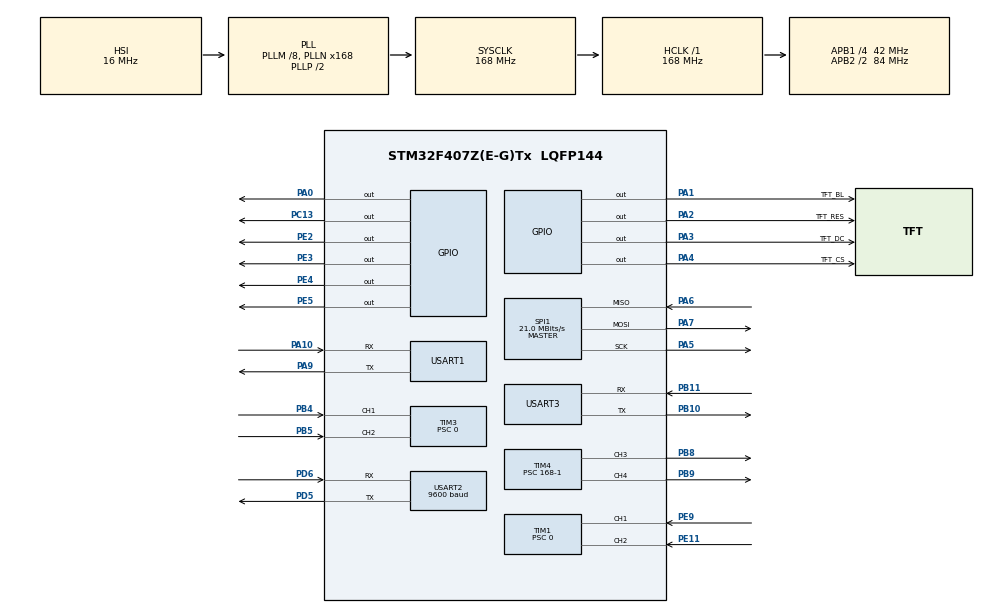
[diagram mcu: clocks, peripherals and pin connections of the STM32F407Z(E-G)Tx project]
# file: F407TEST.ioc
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Mcu.Family=STM32F4
Mcu.Name=STM32F407Z(E-G)Tx
Mcu.Package=LQFP144
NVIC.PriorityGroup=NVIC_PRIORITYGROUP_4
NVIC.TIM1_BRK_TIM9_IRQn=true\:0\:0\:false\:false\:true\:true\:true\:true
NVIC.TIM1_CC_IRQn=true\:0\:0\:false\:false\:true\:true\:true\:true
NVIC.TIM1_TRG_COM_TIM11_IRQn=true\:0\:0\:false\:false\:true\:true\:true\:true
NVIC.TIM1_UP_TIM10_IRQn=true\:0\:0\:false\:false\:true\:true\:true\:true
NVIC.TIM2_IRQn=true\:0\:0\:false\:false\:true\:true\:true\:true
NVIC.TIM3_IRQn=true\:0\:0\:false\:false\:true\:true\:true\:true
NVIC.TIM4_IRQn=true\:0\:0\:false\:false\:true\:true\:true\:true
NVIC.USART1_IRQn=true\:0\:0\:false\:false\:true\:true\:true\:true
NVIC.USART2_IRQn=true\:0\:0\:false\:false\:true\:true\:true\:true
NVIC.USART3_IRQn=true\:0\:0\:false\:false\:true\:true\:true\:true
PA0-WKUP.Signal=GPIO_Output
PA1.GPIO_Label=TFT_BL
PA1.Signal=GPIO_Output
PA10.Mode=Asynchronous
PA10.Signal=USART1_RX
PA13.Mode=Serial_Wire
PA13.Signal=SYS_JTMS-SWDIO
PA14.Mode=Serial_Wire
PA14.Signal=SYS_JTCK-SWCLK
PA2.GPIO_Label=TFT_RES
PA2.Signal=GPIO_Output
PA3.GPIO_Label=TFT_DC
PA3.Signal=GPIO_Output
PA4.GPIO_Label=TFT_CS
PA4.Signal=GPIO_Output
PA5.Mode=Full_Duplex_Master
PA5.Signal=SPI1_SCK
PA6.Mode=Full_Duplex_Master
PA6.Signal=SPI1_MISO
PA7.Mode=Full_Duplex_Master
PA7.Signal=SPI1_MOSI
PA9.Mode=Asynchronous
PA9.Signal=USART1_TX
PB10.Mode=Asynchronous
PB10.Signal=USART3_TX
PB11.Mode=Asynchronous
PB11.Signal=USART3_RX
PB4.Signal=S_TIM3_CH1
PB5.Signal=S_TIM3_CH2
PB8.Signal=S_TIM4_CH3
PB9.Signal=S_TIM4_CH4
PC13-ANTI_TAMP.PinState=GPIO_PIN_SET
PC13-ANTI_TAMP.Signal=GPIO_Output
PD5.Mode=Asynchronous
PD5.Signal=USART2_TX
PD6.Mode=Asynchronous
PD6.Signal=USART2_RX
PE11.Signal=S_TIM1_CH2
PE2.Signal=GPIO_Output
PE3.Signal=GPIO_Output
PE4.Signal=GPIO_Output
PE5.Signal=GPIO_Output
PE9.Signal=S_TIM1_CH1
PH0-OSC_IN.Mode=HSE-External-Oscillator
PH0-OSC_IN.Signal=RCC_OSC_IN
PH1-OSC_OUT.Mode=HSE-External-Oscillator
PH1-OSC_OUT.Signal=RCC_OSC_OUT
ProjectManager.HeapSize=0x200
ProjectManager.StackSize=0x400
ProjectManager.TargetToolchain=MDK-ARM V5.32
RCC.48MHZClocksFreq_Value=84000000
RCC.AHBFreq_Value=168000000
RCC.APB1CLKDivider=RCC_HCLK_DIV4
RCC.APB1Freq_Value=42000000
RCC.APB1TimFreq_Value=84000000
RCC.APB2CLKDivider=RCC_HCLK_DIV2
RCC.APB2Freq_Value=84000000
RCC.APB2TimFreq_Value=168000000
RCC.CortexFreq_Value=168000000
RCC.HCLKFreq_Value=168000000
RCC.HSE_VALUE=25000000
RCC.HSI_VALUE=16000000
RCC.LSE_VALUE=32768
RCC.PLLM=8
RCC.PLLN=168
RCC.SYSCLKFreq_VALUE=168000000
RCC.SYSCLKSource=RCC_SYSCLKSOURCE_PLLCLK
RCC.VCOOutputFreq_Value=336000000
SH.S_TIM1_CH1.0=TIM1_CH1,Encoder_Interface
SH.S_TIM1_CH2.0=TIM1_CH2,Encoder_Interface
SH.S_TIM3_CH1.0=TIM3_CH1,Encoder_Interface
SH.S_TIM3_CH2.0=TIM3_CH2,Encoder_Interface
SH.S_TIM4_CH3.0=TIM4_CH3,PWM Generation3 CH3
SH.S_TIM4_CH4.0=TIM4_CH4,PWM Generation4 CH4
SPI1.BaudRatePrescaler=SPI_BAUDRATEPRESCALER_4
SPI1.CalculateBaudRate=21.0 MBits/s
SPI1.Direction=SPI_DIRECTION_2LINES
SPI1.Mode=SPI_MODE_MASTER
SPI1.VirtualType=VM_MASTER
TIM1.EncoderMode=TIM_ENCODERMODE_TI12
TIM1.Period=60000
TIM1.Prescaler=0
TIM2.Period=10000-1
TIM2.Prescaler=84-1
TIM3.EncoderMode=TIM_ENCODERMODE_TI12
TIM3.Period=60000
TIM3.Prescaler=0
TIM4.Channel-PWM\ Generation3\ CH3=TIM_CHANNEL_3
TIM4.Channel-PWM\ Generation4\ CH4=TIM_CHANNEL_4
TIM4.Period=10000-1
TIM4.Prescaler=168-1
USART1.VirtualMode=VM_ASYNC
USART2.BaudRate=9600
USART2.VirtualMode=VM_ASYNC
USART3.VirtualMode=VM_ASYNC
VP_TIM2_VS_ClockSourceINT.Mode=Internal
VP_TIM4_VS_ClockSourceINT.Mode=Internal
board=custom

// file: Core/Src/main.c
/* USER CODE BEGIN Header */
/*
 * @Author: yyl
 * @Date: 2024-03-31 23:38:49
 * @LastEditors: yyl
 * @FilePath: \MDK-ARMc:\Users\vanilla\Desktop\F407TEST\Core\Src\main.c
 * @LastEditTime: 2024-04-28 14:52:20
 * @Descripttion:
 * code bless us
 */
/* USER CODE END Header */
#include "main.h"
#include "spi.h"
#include "tim.h"
#include "usart.h"
#include "gpio.h"

/* USER CODE BEGIN Includes */
#include "lcd.h"
#include "lcd_init.h"
#include "pic.h"
#include "head_files.h"

/* USER CODE END Includes */

/* USER CODE BEGIN PTD */
// 函数声明
void uart_rx(void);
void lcd_disp(void);
// 内部变量定义
char text[20];
// 外部变量引用

/* USER CODE END PTD */

void SystemClock_Config(void);

/* USER CODE BEGIN 0 */
//int fputc(int ch, FILE *f)

//{

//  HAL_UART_Transmit(&huart3, (uint8_t *)&ch, 1, 0xffff);

//  return ch;
//}
  uint8_t data[] = 0X60;
  float temperature;
  float Turn_angle;
  extern float GX,GY,GZ;

  int road_flag;
  int move_flag;
  int road;

  extern int right_counter;
  extern int left_counter;

  extern int stop;
  extern int target;
	int counter;
  int counter_flag;
  int turn_flag=0;
  int turn_flag1=0;
  extern int cv_x;
  extern int cv_y;

  int liucheng=0;
  int mubiao;
  int mubiao1;
  int dir;
  int dir1;
  extern int target1;

  int stop_flag=0;
  extern int ori;
  extern int theta;
  int dir_buff;
  int mubiao_flag;
  int mubiao1_flag;
  int mubiao_BF;
  int mubiao_x;
  int time;

extern int pid_speed;
extern float Kp_x_v;
extern float Ki_x_v;
extern float Kd_x_v;
extern float speed_pwm;
extern int speed_now;
/* USER CODE END 0 */

int main(void)
{

  /* MCU Configuration--------------------------------------------------------*/

  /* Reset of all peripherals, Initializes the Flash interface and the Systick. */
  HAL_Init();

  /* Configure the system clock */
  SystemClock_Config();

  /* Initialize all configured peripherals */
  MX_GPIO_Init();
  MX_SPI1_Init();
  MX_USART1_UART_Init();
  MX_USART2_UART_Init();
  MX_USART3_UART_Init();
  MX_TIM1_Init();
  MX_TIM3_Init();
  MX_TIM4_Init();
  MX_TIM2_Init();
  /* USER CODE BEGIN 2 */

 	HAL_TIM_Base_Start_IT(&htim1);
	HAL_TIM_Base_Start_IT(&htim2);

  HAL_TIM_Encoder_Start(&htim1, TIM_CHANNEL_ALL);
  HAL_TIM_Encoder_Start(&htim3, TIM_CHANNEL_ALL);
  __HAL_TIM_SET_COUNTER(&htim1, 15000);
  __HAL_TIM_SET_COUNTER(&htim3, 15000);

  HAL_TIM_PWM_Start(&htim4, TIM_CHANNEL_3);
  HAL_TIM_PWM_Start(&htim4, TIM_CHANNEL_4);

  LCD_Init();
  LCD_Fill(0, 0, LCD_W, LCD_H, BLACK);

  HAL_UART_Receive_IT(&huart1,(uint8_t *)&USART1_NewData,1);
	HAL_UART_Receive_IT(&huart2,(uint8_t *)&USART2_NewData,1);
	// HAL_UART_Receive_IT(&huart3,(uint8_t *)&USART3_NewData,1);
  HAL_UART_Receive_IT(&huart3, (uint8_t *)&rx_buff, 1);
  // HAL_UART_Transmit(&huart3, data, sizeof(data), HAL_MAX_DELAY);
  __HAL_TIM_SET_COMPARE(&htim4, TIM_CHANNEL_3,0);
  __HAL_TIM_SET_COMPARE(&htim4, TIM_CHANNEL_4,0);

  /* USER CODE END 2 */

  /* Infinite loop */
  /* USER CODE BEGIN WHILE */
 while (1)
 {  //Reset();
    //  Forward();
    //   Back();
    /* USER CODE END WHILE */

    /* USER CODE BEGIN 3 */

    if(speed_out>=0){LCD_ShowIntNum(0, 0, speed_out, 6, RED, WHITE, 16);}
    else{LCD_ShowIntNum(0, 0, -speed_out, 5, RED, WHITE, 16);}
    LCD_ShowIntNum(80, 0, speed_now, 5, RED, WHITE, 16);
	  LCD_ShowIntNum(0, 32, motor.speed_R, 6, RED, WHITE, 16);
    LCD_ShowIntNum(0, 48, __HAL_TIM_GET_COUNTER(&htim1), 5, RED, WHITE, 16);

    if(speed_out>=0){	 LCD_ShowIntNum(0, 64, overflow_R, 6, RED, WHITE, 16); }
    else{	 LCD_ShowIntNum(0, 64, -overflow_R, 5, RED, WHITE, 16); }
    LCD_ShowIntNum(0, 100, location_R, 5, RED, WHITE, 16);

		vodka_JustFloat_send(&huart3);
//		Forward();

}
  /* USER CODE END 3 */
}

void SystemClock_Config(void)
{
  RCC_OscInitTypeDef RCC_OscInitStruct = {0};
  RCC_ClkInitTypeDef RCC_ClkInitStruct = {0};

  /** Configure the main internal regulator output voltage
  */
  __HAL_RCC_PWR_CLK_ENABLE();
  __HAL_PWR_VOLTAGESCALING_CONFIG(PWR_REGULATOR_VOLTAGE_SCALE1);

  /** Initializes the RCC Oscillators according to the specified parameters
  * in the RCC_OscInitTypeDef structure.
  */
  RCC_OscInitStruct.OscillatorType = RCC_OSCILLATORTYPE_HSI;
  RCC_OscInitStruct.HSIState = RCC_HSI_ON;
  RCC_OscInitStruct.HSICalibrationValue = RCC_HSICALIBRATION_DEFAULT;
  RCC_OscInitStruct.PLL.PLLState = RCC_PLL_ON;
  RCC_OscInitStruct.PLL.PLLSource = RCC_PLLSOURCE_HSI;
  RCC_OscInitStruct.PLL.PLLM = 8;
  RCC_OscInitStruct.PLL.PLLN = 168;
  RCC_OscInitStruct.PLL.PLLP = RCC_PLLP_DIV2;
  RCC_OscInitStruct.PLL.PLLQ = 4;
  if (HAL_RCC_OscConfig(&RCC_OscInitStruct) != HAL_OK)
  {
    Error_Handler();
  }

  /** Initializes the CPU, AHB and APB buses clocks
  */
  RCC_ClkInitStruct.ClockType = RCC_CLOCKTYPE_HCLK|RCC_CLOCKTYPE_SYSCLK
                              |RCC_CLOCKTYPE_PCLK1|RCC_CLOCKTYPE_PCLK2;
  RCC_ClkInitStruct.SYSCLKSource = RCC_SYSCLKSOURCE_PLLCLK;
  RCC_ClkInitStruct.AHBCLKDivider = RCC_SYSCLK_DIV1;
  RCC_ClkInitStruct.APB1CLKDivider = RCC_HCLK_DIV4;
  RCC_ClkInitStruct.APB2CLKDivider = RCC_HCLK_DIV2;

  if (HAL_RCC_ClockConfig(&RCC_ClkInitStruct, FLASH_LATENCY_5) != HAL_OK)
  {
    Error_Handler();
  }
}

/* USER CODE BEGIN 4 */
void lcd_disp()
{
//  sprintf(text, "speed:%d   ", speed_reality);
//  LCD_ShowString(0, 0, (uint8_t *)text, WHITE, BLACK, 16, 0);
//  sprintf(text, "speed_out:%d   ", speed_out);
//  LCD_ShowString(0, 16, (uint8_t *)text, WHITE, BLACK, 16, 0);
  // sprintf(text, "flag_stop:%d   ", flag_stop);
  // LCD_ShowString(0, 0, (uint8_t *)text, WHITE, BLACK, 16, 0);
  // sprintf(text, "rxpointer:%d   ", rx_pointer);
  // LCD_ShowString(0, 16, (uint8_t *)text, WHITE, BLACK, 16, 0);
  // sprintf(text, "rxdata:%d   ", rxdatas[0]);
  // LCD_ShowString(0, 32, (uint8_t *)text, WHITE, BLACK, 16, 0);
  // LCD_ShowChinese(0, 0, "中景园电�?????", RED, WHITE, 24, 0);
  // LCD_ShowString(24, 30, "LCD_W:", RED, WHITE, 16, 0);
  // LCD_ShowIntNum(72, 30, LCD_W, 3, RED, WHITE, 16);
  // LCD_ShowString(24, 50, "LCD_H:", RED, WHITE, 16, 0);
  // LCD_ShowIntNum(72, 50, LCD_H, 3, RED, WHITE, 16);
  // LCD_ShowFloatNum1(20, 80, t, 4, RED, WHITE, 16);
  // t += 0.11;
  // LCD_ShowPicture(0, 0, 128, 160, gImage_cat);
}

/* USER CODE END 4 */

void Error_Handler(void)
{
  __disable_irq();
  while (1)
  {
  }
}
